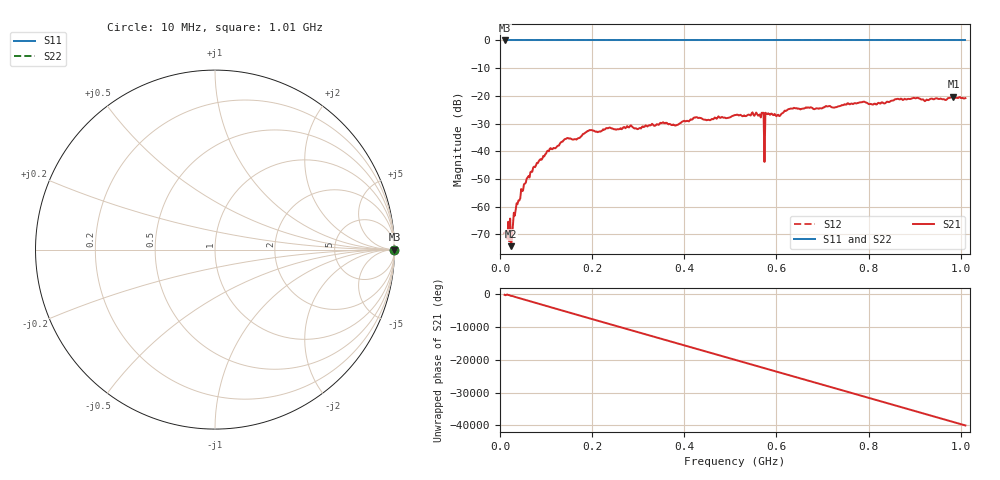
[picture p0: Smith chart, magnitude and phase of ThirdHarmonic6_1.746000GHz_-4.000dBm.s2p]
! 8/16/2025 9:03:07 PM
! C:\ANRITSUVNA\TEMP\TEMP.S2P
! CHANNEL.1
! TR.MEASUREMENT
! RAW.DATA
! RF.CORRECTION.OFF
! AVERAGING.OFF
! IF.BANDWIDTH: 5KHZ
! SWEEPTYPE:  FREQ.SWEEP(Linear)
! Reference Plane Port Info
! PORT:  PORT1  PORT2
! DISTANCE:  0  m  0  m
! TIME:  0  s  0  s
! PHASE.OFFSET:  0  deg.  0  deg.
! LOSS:  0  dB  0  dB
! REF.LOSS:  0  dB  0  dB
! REF.FREQ:  0  Hz  0  Hz
! Power Info
! POWER:  -20  dBm  -20  dBm
! EFF.POWER:  -20  dBm  -20  dBm
! SOURCE.ATTEN:  0  dB  0  dB
! TEST.ATTEN:  0  dB  0  dB
# GHZ S RI R 50.0
! FREQ.GHZ  S11RE  S11IM  S21RE  S21IM  S12RE  S12IM  S22RE  S22IM
!; PortSelection: Port_12
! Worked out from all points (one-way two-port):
!   501 points, 10 MHz to 1.01 GHz, reference 50 ohm
!   highest |S21| = -20.32 dB at 984 MHz (marker M1); lowest = -74.3 dB at 24 MHz (marker M2)
!   lowest |S11| = 0.0 dB at 10 MHz (marker M3)
!   |S11| at or under -10 dB: nowhere
!   |S22| runs from 0.0 to 0.0 dB; largest |S21 - S12| = 1.1
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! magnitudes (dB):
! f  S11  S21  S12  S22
! 10 MHz  0.0  -69.6  0.0  0.0
! 24 MHz  0.0  -74.3  0.0  0.0
! 28 MHz  0.0  -66.9  0.0  0.0
! 34 MHz  0.0  -61.3  0.0  0.0
! 50 MHz  0.0  -54.2  0.0  0.0
! 76 MHz  0.0  -45.8  0.0  0.0
! 106 MHz  0.0  -40.0  0.0  0.0
! 142 MHz  0.0  -35.5  0.0  0.0
! 178 MHz  0.0  -34.3  0.0  0.0
! 196 MHz  0.0  -32.4  0.0  0.0
! 344 MHz  0.0  -30.5  0.0  0.0
! 510 MHz  0.0  -26.9  0.0  0.0
! 568 MHz  0.0  -26.1  0.0  0.0
! 570 MHz  0.0  -26.1  0.0  0.0
! 578 MHz  0.0  -26.4  0.0  0.0
! 580 MHz  0.0  -26.6  0.0  0.0
! 604 MHz  0.0  -26.9  0.0  0.0
! 630 MHz  0.0  -24.6  0.0  0.0
! 678 MHz  0.0  -24.4  0.0  0.0
! 844 MHz  0.0  -22.3  0.0  0.0
! 984 MHz  0.0  -20.3  0.0  0.0
! 1.01 GHz  0.0  -20.8  0.0  0.0
